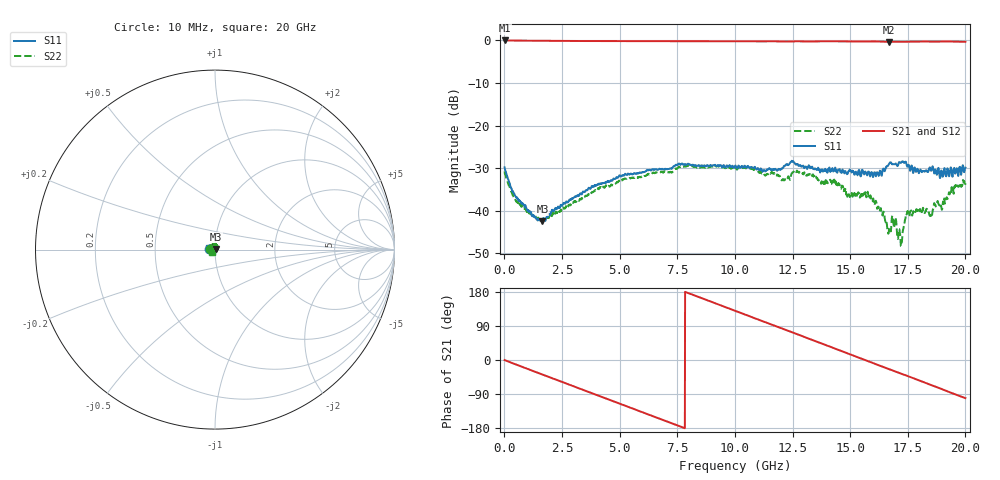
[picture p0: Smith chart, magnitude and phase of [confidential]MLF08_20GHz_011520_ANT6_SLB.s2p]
!Keysight	Technologies	PLTS	"2017U1,"	Build	20170704.1
!Deembedding/AFR	applied
!FILE:	I:\CONE\04_Data\MLF\05_frequency	characteristic\190225_MLF_GRR\#5	(Sheet2_Address3-4)\Pin1\mating_5_pin1_n1.s2p
!$DUT_CFG_DESC:	Default	2-Port	Configuration
!$NUMBER_PORTS:	2
!$DIFF_PORT_MAP:	1|1P|2|1P|
!$PORT_MAP:	1|1|<<<<<<|2|2|>>>>>>|
!Date:	"Friday,"	March	"29,"	"2019,"	12:45:22
!S2P	File:	Measurements:	"S11,S21,S12,S22:"
#	MHz	S	RI	R	50
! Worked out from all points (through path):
!   2000 points, 10 MHz to 20 GHz, reference 50 ohm
!   highest |S21| = -0.01 dB at 10 MHz (marker M1); lowest = -0.3 dB at 16.68 GHz (marker M2)
!   group delay of S21, straight-line fit = 63.9 ps
!   lowest |S11| = -42.5 dB at 1.65 GHz (marker M3), VSWR 1.02, Z = 50.7 + j0.347 ohm
!   |S11| at or under -10 dB: start of sweep to end of sweep
!   |S22| runs from -48.3 to -29.3 dB; largest |S21 - S12| = 0.0012
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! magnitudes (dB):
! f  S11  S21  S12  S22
! 10 MHz  -29.8  0.0  0.0  -30.8
! 560 MHz  -37.2  0.0  0.0  -37.9
! 1.65 GHz  -42.5  -0.1  -0.1  -42.0
! 3.35 GHz  -36.1  -0.1  -0.1  -37.2
! 6.68 GHz  -30.3  -0.2  -0.2  -31.0
! 10.01 GHz  -29.4  -0.2  -0.2  -29.8
! 12.08 GHz  -30.0  -0.3  -0.3  -32.5
! 12.61 GHz  -28.9  -0.2  -0.2  -30.9
! 13.34 GHz  -29.7  -0.2  -0.2  -31.7
! 14.93 GHz  -30.7  -0.2  -0.2  -36.2
! 15.71 GHz  -31.3  -0.2  -0.2  -36.8
! 16.39 GHz  -31.1  -0.3  -0.3  -40.6
! 16.67 GHz  -29.1  -0.3  -0.3  -45.3
! 16.68 GHz  -29.1  -0.3  -0.3  -44.7
! 16.9 GHz  -29.0  -0.3  -0.3  -44.0
! 17.16 GHz  -28.6  -0.3  -0.3  -45.3
! 17.53 GHz  -29.2  -0.3  -0.3  -40.6
! 18.5 GHz  -30.5  -0.3  -0.3  -41.5
! 18.73 GHz  -30.8  -0.3  -0.3  -38.8
! 18.96 GHz  -30.6  -0.3  -0.3  -39.2
! 19.49 GHz  -30.3  -0.3  -0.3  -36.0
! 20 GHz  -29.9  -0.3  -0.3  -33.5
